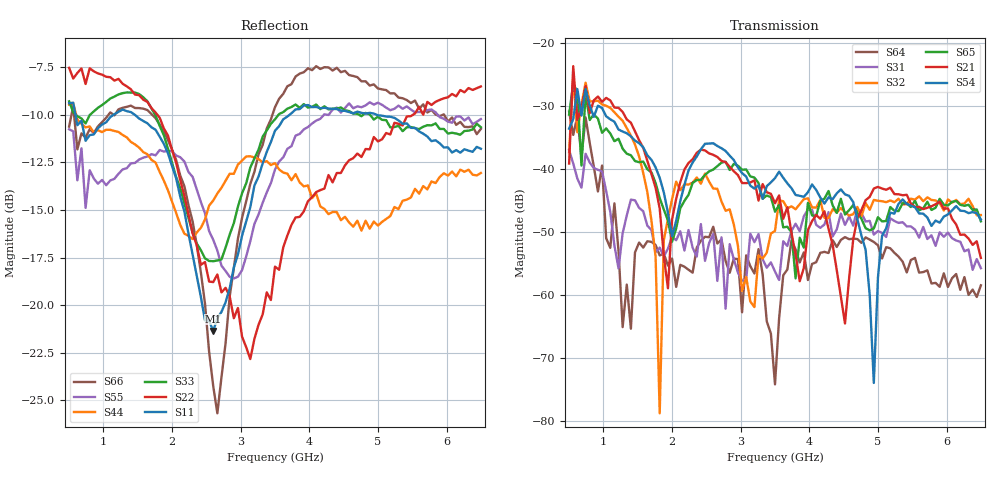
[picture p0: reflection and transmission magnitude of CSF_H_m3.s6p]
!Keysight Technologies,M9804A,MY58100912,A.14.10.03
!Date: Thursday, April 27, 2023 10:28:33
!Correction: S11(C  6-Port  )
!S12(C  6-Port  )
!S13(C  6-Port  )
!S14(C  6-Port  )
!S15(C  6-Port  )
!S16(C  6-Port  )
!S21(C  6-Port  )
!S22(C  6-Port  )
!S23(C  6-Port  )
!S24(C  6-Port  )
!S25(C  6-Port  )
!S26(C  6-Port  )
!S31(C  6-Port  )
!S32(C  6-Port  )
!S33(C  6-Port  )
!S34(C  6-Port  )
!S35(C  6-Port  )
!S36(C  6-Port  )
!S41(C  6-Port  )
!S42(C  6-Port  )
!S43(C  6-Port  )
!S44(C  6-Port  )
!S45(C  6-Port  )
!S46(C  6-Port  )
!S51(C  6-Port  )
!S52(C  6-Port  )
!S53(C  6-Port  )
!S54(C  6-Port  )
!S55(C  6-Port  )
!S56(C  6-Port  )
!S61(C  6-Port  )
!S62(C  6-Port  )
!S63(C  6-Port  )
!S64(C  6-Port  )
!S65(C  6-Port  )
!S66(C  6-Port  )
!S6P File: Measurement: :
# Hz S  RI  R 50
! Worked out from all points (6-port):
!   101 points, 500 MHz to 6.5 GHz, reference 50 ohm
!   strongest paths, dB at 500 MHz, 2 GHz, 3.5 GHz, 5 GHz, 6.5 GHz:
!     S54: -33.6, -50.7, -41.5, -57.2, -48.0
!     S21: -39.1, -48.0, -45.4, -42.8, -54.1
!     S65: -31.4, -51.5, -46.8, -47.7, -48.3
!     S32: -37.3, -44.8, -49.8, -45.0, -47.3
!     S31: -37.0, -50.8, -56.3, -49.8, -55.7
!     S64: -30.9, -54.2, -74.1, -52.1, -58.4
!   lowest |S11| = -21.4 dB at 2.6 GHz (marker M1), VSWR 1.19, Z = 42.4 + j2.29 ohm
!   |S11| at or under -10 dB: 592.6 MHz to 1.146 GHz (553.2 MHz wide, 63.6 % of centre); 1.46 GHz to 3.709 GHz (2.25 GHz wide, 87 % of centre); 4.988 GHz to end of sweep
